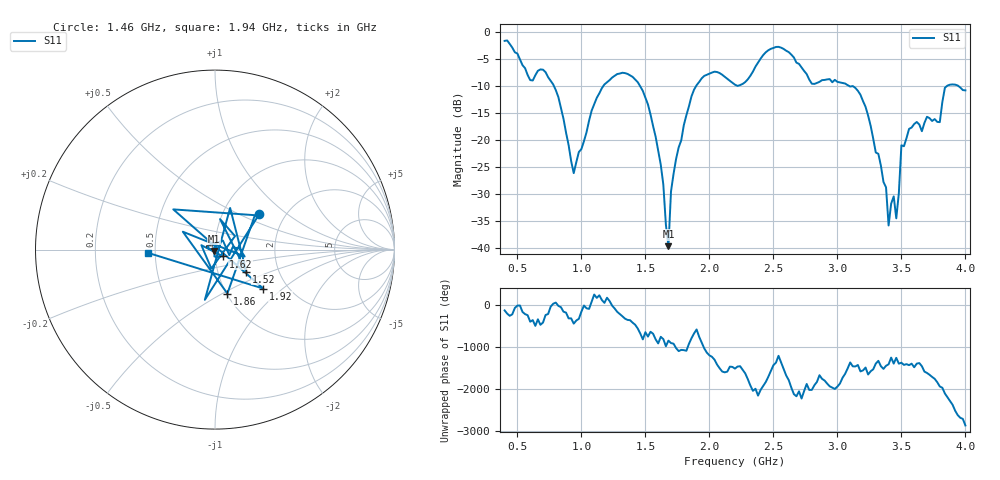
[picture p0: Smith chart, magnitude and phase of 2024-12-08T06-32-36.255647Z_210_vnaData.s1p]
!Created with skrf (http://scikit-rf.org).
# Hz S RI R 50.0
!freq ReS11 ImS11
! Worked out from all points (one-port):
!   181 points, 400 MHz to 4 GHz, reference 50 ohm
!   lowest |S11| = -39.8 dB at 1.68 GHz (marker M1), VSWR 1.02, Z = 49.3 - j0.773 ohm
!   |S11| at or under -10 dB: 785.9 MHz to 1.17 GHz (384.6 MHz wide, 39.3 % of centre); 1.459 GHz to 1.896 GHz (436.8 MHz wide, 26 % of centre); 3.121 GHz to 3.854 GHz (733.1 MHz wide, 21 % of centre) (the widest 3 of 5)
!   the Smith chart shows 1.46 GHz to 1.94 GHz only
!   S11 on the Smith chart (normalised r, x): 1.46 GHz: 1.48, +0.65; 1.52 GHz: 1.37, -0.35; 1.62 GHz: 1.09, -0.08; 1.86 GHz: 1.01, -0.53; 1.92 GHz: 1.51, -0.75; 1.94 GHz: 0.46, -0.02
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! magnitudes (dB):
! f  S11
! 400 MHz  -1.6
! 600 MHz  -8.9
! 720 MHz  -7.4
! 860 MHz  -16.1
! 940 MHz  -26.2
! 1.12 GHz  -12.2
! 1.3 GHz  -7.7
! 1.46 GHz  -10.0
! 1.52 GHz  -13.4
! 1.62 GHz  -24.6
! 1.68 GHz  -39.8
! 1.7 GHz  -29.6
! 1.76 GHz  -21.4
! 1.86 GHz  -11.9
! 1.92 GHz  -9.2
! 1.94 GHz  -8.5
! 2.2 GHz  -9.7
! 2.48 GHz  -3.1
! 2.66 GHz  -4.7
! 3.1 GHz  -10.1
! 3.24 GHz  -15.5
! 3.38 GHz  -28.8
! 3.4 GHz  -35.9
! 3.44 GHz  -30.5
! 3.46 GHz  -34.6
! 3.5 GHz  -21.0
! 3.56 GHz  -17.9
! 4 GHz  -10.8
